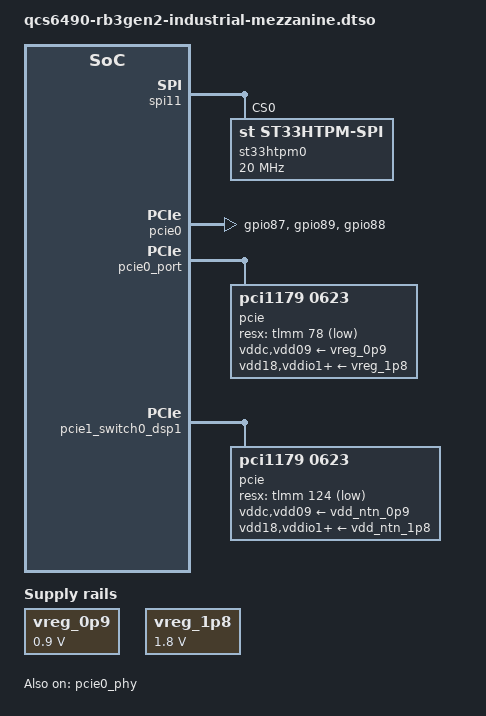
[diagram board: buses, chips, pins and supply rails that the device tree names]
// SPDX-License-Identifier: BSD-3-Clause
/*
 * Copyright (c) 2025, Qualcomm Innovation Center, Inc. All rights reserved.
*/

/dts-v1/;
/plugin/;
#include <dt-bindings/gpio/gpio.h>
#include <dt-bindings/clock/qcom,gcc-sc7280.h>
#include <dt-bindings/pinctrl/qcom,pmic-gpio.h>

&{/} {

	vreg_0p9: regulator-0v9 {
		compatible = "regulator-fixed";
		regulator-name = "VREG_0P9";
		regulator-min-microvolt = <900000>;
		regulator-max-microvolt = <900000>;

		regulator-always-on;
		regulator-boot-on;
	};

	vreg_1p8: regulator-1v8 {
		compatible = "regulator-fixed";
		regulator-name = "VREG_1P8";
		regulator-min-microvolt = <1800000>;
		regulator-max-microvolt = <1800000>;

		regulator-always-on;
		regulator-boot-on;
	};
};

&remoteproc_wpss {
       status = "disabled";
};

&spi11 {
	#address-cells = <1>;
	#size-cells = <0>;
	status = "okay";

	st33htpm0: tpm@0 {
		compatible = "st,st33htpm-spi", "tcg,tpm_tis-spi";
		reg = <0>;
		spi-max-frequency = <20000000>;
	};
};

&pcie0 {
	perst-gpios = <&tlmm 87 GPIO_ACTIVE_LOW>;

	pinctrl-0 = <&pcie0_reset_n>, <&pcie0_wake_n>, <&pcie0_clkreq_n>;
	pinctrl-names = "default";

	iommu-map = <0x0 &apps_smmu 0x1c00 0x1>,
		    <0x100 &apps_smmu 0x1c01 0x1>,
		    <0x208 &apps_smmu 0x1c04 0x1>,
		    <0x210 &apps_smmu 0x1c05 0x1>,
		    <0x218 &apps_smmu 0x1c06 0x1>,
		    <0x300 &apps_smmu 0x1c07 0x1>,
		    <0x400 &apps_smmu 0x1c08 0x1>,
		    <0x500 &apps_smmu 0x1c09 0x1>,
		    <0x501 &apps_smmu 0x1c10 0x1>;

	status = "okay";
};

&pcie0_phy {
	vdda-phy-supply = <&vreg_l10c_0p88>;
	vdda-pll-supply = <&vreg_l6b_1p2>;

	status = "okay";
};

&pcie0_port {
	#address-cells = <3>;
	#size-cells = <2>;

	pcie@0,0 {
		compatible = "pci1179,0623";
		reg = <0x10000 0x0 0x0 0x0 0x0>;
		#address-cells = <3>;
		#size-cells = <2>;

		device_type = "pci";
		ranges;
		bus-range = <0x2 0xff>;

		vddc-supply = <&vreg_0p9>;
		vdd18-supply = <&vreg_1p8>;
		vdd09-supply = <&vreg_0p9>;
		vddio1-supply = <&vreg_1p8>;
		vddio2-supply = <&vreg_1p8>;
		vddio18-supply = <&vreg_1p8>;

		i2c-parent = <&i2c1 0x33>;

		resx-gpios = <&tlmm 78 GPIO_ACTIVE_LOW>;

		pinctrl-0 = <&pcie0_tc9563_resx_n>;
		pinctrl-names = "default";

		pcie@1,0 {
			reg = <0x20800 0x0 0x0 0x0 0x0>;
			#address-cells = <3>;
			#size-cells = <2>;

			device_type = "pci";
			ranges;
			bus-range = <0x3 0xff>;
		};

		pcie@2,0 {
			reg = <0x21000 0x0 0x0 0x0 0x0>;
			#address-cells = <3>;
			#size-cells = <2>;

			device_type = "pci";
			ranges;
			bus-range = <0x4 0xff>;
		};

		pcie@3,0 {
			reg = <0x21800 0x0 0x0 0x0 0x0>;
			#address-cells = <3>;
			#size-cells = <2>;
			device_type = "pci";
			ranges;
			bus-range = <0x5 0xff>;

			pci@0,0 {
				reg = <0x50000 0x0 0x0 0x0 0x0>;
				#address-cells = <3>;
				#size-cells = <2>;
				device_type = "pci";
				ranges;
			};

			pci@0,1 {
				reg = <0x50100 0x0 0x0 0x0 0x0>;
				#address-cells = <3>;
				#size-cells = <2>;
				device_type = "pci";
				ranges;
			};
		};

	};
};

&pcie1 {
	iommu-map = <0x0 &apps_smmu 0x1c80 0x1>,
		    <0x100 &apps_smmu 0x1c81 0x1>,
		    <0x208 &apps_smmu 0x1c84 0x1>,
		    <0x210 &apps_smmu 0x1c85 0x1>,
		    <0x218 &apps_smmu 0x1c86 0x1>,
		    <0x300 &apps_smmu 0x1c87 0x1>,
		    <0x408 &apps_smmu 0x1c90 0x1>,
		    <0x410 &apps_smmu 0x1c91 0x1>,
		    <0x418 &apps_smmu 0x1c92 0x1>,
		    <0x500 &apps_smmu 0x1c93 0x1>,
		    <0x600 &apps_smmu 0x1c94 0x1>,
		    <0x700 &apps_smmu 0x1c95 0x1>,
		    <0x701 &apps_smmu 0x1c96 0x1>,
		    <0x800 &apps_smmu 0x1c97 0x1>,
		    <0x900 &apps_smmu 0x1c98 0x1>,
		    <0x901 &apps_smmu 0x1c99 0x1>;
};

&pcie1_switch0_dsp1 {
	#address-cells = <3>;
	#size-cells = <2>;

	pcie@0,0 {
		compatible = "pci1179,0623";
		reg = <0x30000 0x0 0x0 0x0 0x0>;
		#address-cells = <3>;
		#size-cells = <2>;

		device_type = "pci";
		ranges;
		bus-range = <0x2 0xff>;

		vddc-supply = <&vdd_ntn_0p9>;
		vdd18-supply = <&vdd_ntn_1p8>;
		vdd09-supply = <&vdd_ntn_0p9>;
		vddio1-supply = <&vdd_ntn_1p8>;
		vddio2-supply = <&vdd_ntn_1p8>;
		vddio18-supply = <&vdd_ntn_1p8>;

		i2c-parent = <&i2c1 0x77>;

		resx-gpios = <&tlmm 124 GPIO_ACTIVE_LOW>;

		pinctrl-0 = <&pcie1_tc9563_resx_n>;
		pinctrl-names = "default";

		pcie@1,0 {
			reg = <0x40800 0x0 0x0 0x0 0x0>;
			#address-cells = <3>;
			#size-cells = <2>;

			device_type = "pci";
			ranges;
			bus-range = <0x3 0xff>;
		};

		pcie@2,0 {
			reg = <0x41000 0x0 0x0 0x0 0x0>;
			#address-cells = <3>;
			#size-cells = <2>;

			device_type = "pci";
			ranges;
			bus-range = <0x4 0xff>;
		};

		pcie@3,0 {
			reg = <0x41800 0x0 0x0 0x0 0x0>;
			#address-cells = <3>;
			#size-cells = <2>;
			device_type = "pci";
			ranges;
			bus-range = <0x5 0xff>;

			pci@0,0 {
				reg = <0x50000 0x0 0x0 0x0 0x0>;
				#address-cells = <3>;
				#size-cells = <2>;
				device_type = "pci";
				ranges;
			};

			pci@0,1 {
				reg = <0x50100 0x0 0x0 0x0 0x0>;
				#address-cells = <3>;
				#size-cells = <2>;
				device_type = "pci";
				ranges;
			};
		};
	};
};

&tlmm {
	pcie0_tc9563_resx_n: pcie0-tc9563-resx-state {
		pins = "gpio78";
		function = "gpio";
		bias-disable;
		input-disable;
		output-enable;
	};

	pcie0_reset_n: pcie0-reset-n-state {
		pins = "gpio87";
		function = "gpio";
		drive-strength = <16>;
		output-low;
		bias-disable;
	};

	pcie0_clkreq_n: pcie0-clkreq-n-state {
		pins = "gpio88";
		function = "pcie0_clkreqn";
		drive-strength = <2>;
		bias-pull-up;
	};

	pcie0_wake_n: pcie0-wake-n-state {
		pins = "gpio89";
		function = "gpio";
		drive-strength = <2>;
		bias-pull-up;
	};

	pcie1_tc9563_resx_n: pcie1-tc9563-resx-state {
		pins = "gpio124";
		function = "gpio";
		bias-disable;
		input-disable;
		output-enable;
	};

};

&wifi {
       status = "disabled";
};
